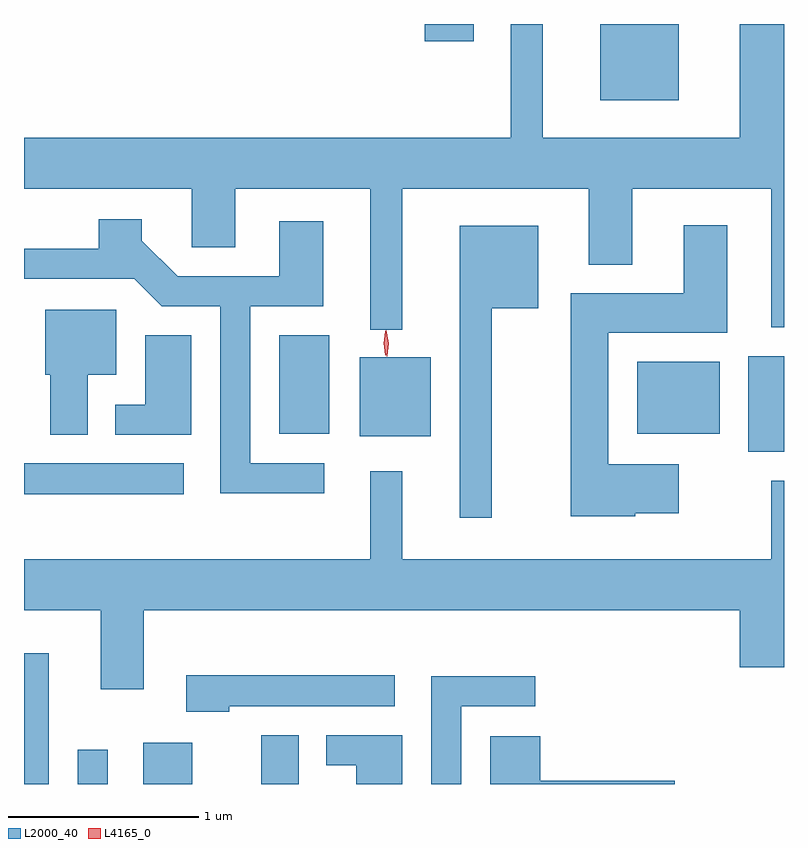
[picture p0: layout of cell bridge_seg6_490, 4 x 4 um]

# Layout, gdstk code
import gdstk
lib = gdstk.Library(unit=1e-6, precision=1e-09)
def R(c, l, rs):  # rectangles x0, y0, x1, y1
    for r in rs: c.add(gdstk.rectangle(r[:2], r[2:], *l))
def P(c, l, *ps):  # polygons
    for p in ps: c.add(gdstk.Polygon(p, *l))
L2000_40 = (2000, 40)
L4165_0 = (4165, 0)

bridge_seg6_490 = lib.new_cell('bridge_seg6_490')
R(bridge_seg6_490, L2000_40, [(830.688,1538.022,830.819,1538.709), (830.971,1538.022,831.129,1538.203), (831.316,1538.022,831.574,1538.239), (831.936,1538.022,832.134,1538.279), (830.688,1539.546,831.528,1539.709), (834.501,1539.771,834.688,1540.274), (832.456,1539.851,832.829,1540.269), (832.031,1539.866,832.294,1540.384), (833.916,1539.866,834.349,1540.244), (833.721,1541.621,834.134,1542.022), (832.796,1541.931,833.054,1542.022)])
P(bridge_seg6_490, L2000_40, [(832.679,1541.156),(833.661,1541.156),(833.661,1540.756),(833.889,1540.756),(833.889,1541.156),(834.621,1541.156),(834.621,1540.426),(834.688,1540.426),(834.688,1542.022),(834.456,1542.022),(834.456,1541.424),(833.419,1541.424),(833.419,1542.022),(833.251,1542.022),(833.251,1541.424),(830.688,1541.424),(830.688,1541.156),(831.571,1541.156),(831.571,1540.846),(831.799,1540.846),(831.799,1541.156),(832.511,1541.156),(832.511,1540.413),(832.679,1540.413)],
  [(832.268,1539.709),(831.879,1539.709),(831.879,1540.536),(832.264,1540.536),(832.264,1540.984),(832.031,1540.984),(832.031,1540.694),(831.497,1540.694),(831.309,1540.882),(831.309,1540.994),(831.081,1540.994),(831.081,1540.839),(830.688,1540.839),(830.688,1540.681),(831.269,1540.681),(831.414,1540.536),(831.721,1540.536),(831.721,1539.551),(832.268,1539.551)],
  [(833.905,1539.446),(834.134,1539.446),(834.134,1539.704),(833.764,1539.704),(833.764,1540.396),(834.389,1540.396),(834.389,1540.964),(834.161,1540.964),(834.161,1540.604),(833.566,1540.604),(833.566,1539.431),(833.905,1539.431)],
  [(833.149,1540.526),(833.394,1540.526),(833.394,1540.959),(832.981,1540.959),(832.981,1539.423),(833.149,1539.423)],
  [(831.024,1540.176),(831.174,1540.176),(831.174,1540.519),(830.801,1540.519),(830.801,1540.176),(830.826,1540.176),(830.826,1539.861),(831.024,1539.861)],
  [(831.569,1540.384),(831.326,1540.384),(831.326,1540.019),(831.168,1540.019),(831.168,1539.861),(831.569,1539.861)],
  [(834.456,1538.636),(834.688,1538.636),(834.688,1539.619),(834.621,1539.619),(834.621,1539.204),(832.679,1539.204),(832.679,1539.668),(832.511,1539.668),(832.511,1539.204),(830.688,1539.204),(830.688,1538.936),(831.091,1538.936),(831.091,1538.521),(831.319,1538.521),(831.319,1538.936),(834.456,1538.936)],
  [(831.769,1538.431),(832.638,1538.431),(832.638,1538.594),(831.541,1538.594),(831.541,1538.401),(831.769,1538.401)],
  [(832.989,1538.431),(833.378,1538.431),(833.378,1538.589),(832.831,1538.589),(832.831,1538.022),(832.989,1538.022)],
  [(832.679,1538.279),(832.278,1538.279),(832.278,1538.121),(832.436,1538.121),(832.436,1538.022),(832.679,1538.022)],
  [(834.114,1538.039),(833.404,1538.039),(833.404,1538.274),(833.141,1538.274),(833.141,1538.022),(834.114,1538.022)])
P(bridge_seg6_490, L4165_0, [(832.598,1540.274),(832.587,1540.342),(832.594,1540.41),(832.595,1540.41),(832.595,1540.41),(832.607,1540.342),(832.599,1540.274),(832.599,1540.274)],
  [(832.59,1540.278),(832.581,1540.342),(832.59,1540.406),(832.591,1540.407),(832.591,1540.406),(832.601,1540.342),(832.591,1540.278),(832.591,1540.278)])

lib.write_gds('bridge_seg6_490.gds')
